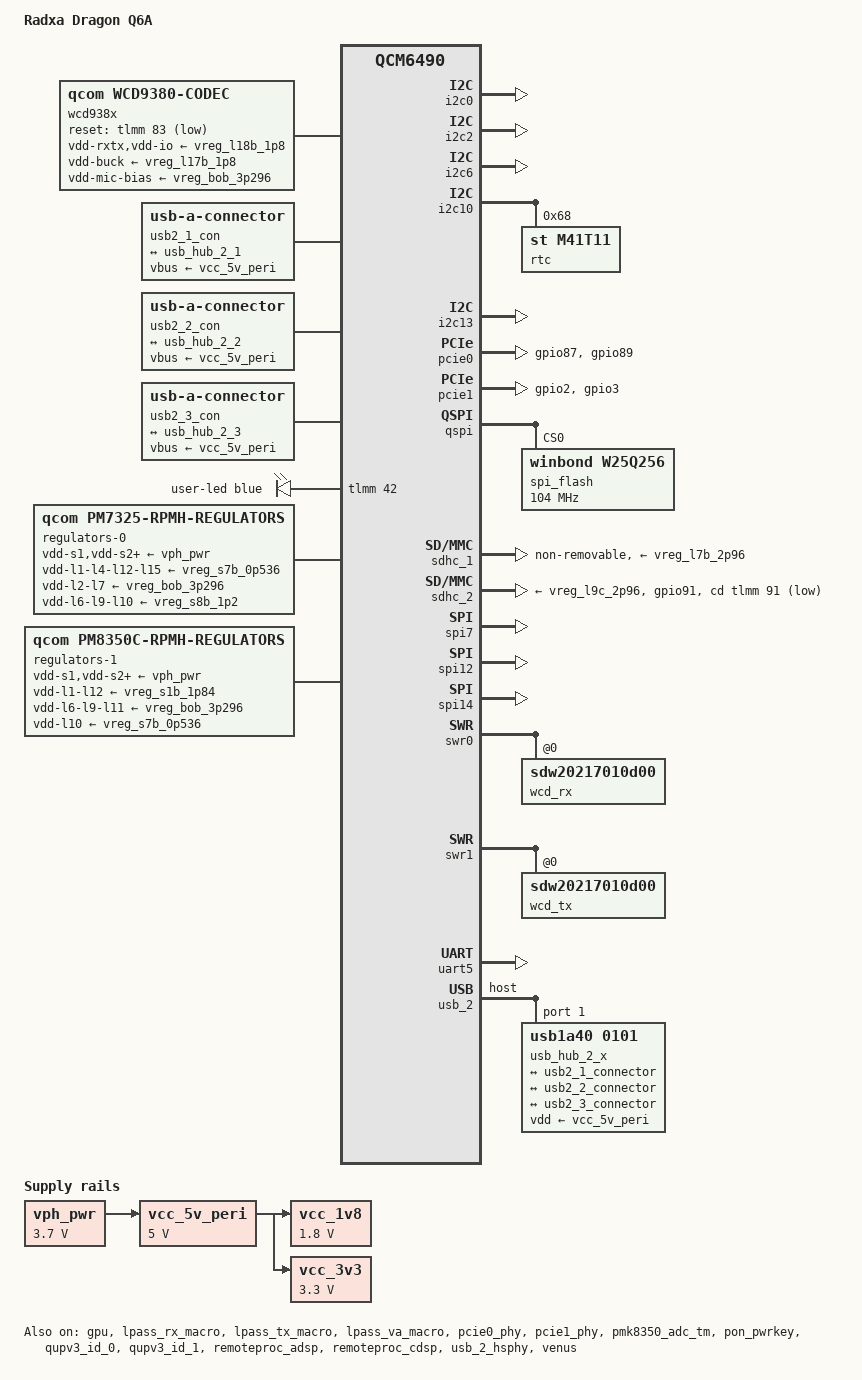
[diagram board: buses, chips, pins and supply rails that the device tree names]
// SPDX-License-Identifier: BSD-3-Clause
/*
 * Copyright (c) 2025 Radxa Computer (Shenzhen) Co., Ltd.
 */

/dts-v1/;

/* PM7250B is configured to use SID8/9 */
#define PM7250B_SID 8
#define PM7250B_SID1 9

#include <dt-bindings/iio/qcom,spmi-adc7-pmk8350.h>
#include <dt-bindings/iio/qcom,spmi-adc7-pm7325.h>
#include <dt-bindings/leds/common.h>
#include <dt-bindings/pinctrl/qcom,pmic-gpio.h>
#include <dt-bindings/regulator/qcom,rpmh-regulator.h>
#include "kodiak.dtsi"
#include "pm7250b.dtsi"
#include "pm7325.dtsi"
#include "pm8350c.dtsi" /* PM7350C */
#include "pmk8350.dtsi" /* PMK7325 */
#include "qcs6490-audioreach.dtsi"

/delete-node/ &adsp_mem;
/delete-node/ &cdsp_mem;
/delete-node/ &ipa_fw_mem;
/delete-node/ &mpss_mem;
/delete-node/ &remoteproc_mpss;
/delete-node/ &remoteproc_wpss;
/delete-node/ &rmtfs_mem;
/delete-node/ &video_mem;
/delete-node/ &wifi;
/delete-node/ &wlan_ce_mem;
/delete-node/ &wlan_fw_mem;
/delete-node/ &wpss_mem;
/delete-node/ &xbl_mem;

/ {
	model = "Radxa Dragon Q6A";
	compatible = "radxa,dragon-q6a", "qcom,qcm6490";
	chassis-type = "embedded";

	aliases {
		mmc0 = &sdhc_1;
		mmc1 = &sdhc_2;
		serial0 = &uart5;
	};

	wcd938x: audio-codec {
		compatible = "qcom,wcd9380-codec";

		pinctrl-0 = <&wcd_default>;
		pinctrl-names = "default";

		reset-gpios = <&tlmm 83 GPIO_ACTIVE_LOW>;

		vdd-rxtx-supply = <&vreg_l18b_1p8>;
		vdd-io-supply = <&vreg_l18b_1p8>;
		vdd-buck-supply = <&vreg_l17b_1p8>;
		vdd-mic-bias-supply = <&vreg_bob_3p296>;

		qcom,micbias1-microvolt = <1800000>;
		qcom,micbias2-microvolt = <1800000>;
		qcom,micbias3-microvolt = <1800000>;
		qcom,micbias4-microvolt = <1800000>;
		qcom,mbhc-buttons-vthreshold-microvolt = <75000 150000 237000 500000 500000 500000 500000 500000>;
		qcom,mbhc-headset-vthreshold-microvolt = <1700000>;
		qcom,mbhc-headphone-vthreshold-microvolt = <50000>;
		qcom,rx-device = <&wcd_rx>;
		qcom,tx-device = <&wcd_tx>;

		qcom,hphl-jack-type-normally-closed;

		#sound-dai-cells = <1>;
	};

	chosen {
		stdout-path = "serial0:115200n8";
	};

	usb2_1_con: connector-0 {
		compatible = "usb-a-connector";
		vbus-supply = <&vcc_5v_peri>;

		port {
			usb2_1_connector: endpoint {
				remote-endpoint = <&usb_hub_2_1>;
			};
		};
	};

	usb2_2_con: connector-1 {
		compatible = "usb-a-connector";
		vbus-supply = <&vcc_5v_peri>;

		port {
			usb2_2_connector: endpoint {
				remote-endpoint = <&usb_hub_2_2>;
			};
		};
	};

	usb2_3_con: connector-2 {
		compatible = "usb-a-connector";
		vbus-supply = <&vcc_5v_peri>;

		port {
			usb2_3_connector: endpoint {
				remote-endpoint = <&usb_hub_2_3>;
			};
		};
	};

	leds {
		compatible = "gpio-leds";

		pinctrl-0 = <&user_led>;
		pinctrl-names = "default";

		user-led {
			color = <LED_COLOR_ID_BLUE>;
			function = LED_FUNCTION_INDICATOR;
			gpios = <&tlmm 42 GPIO_ACTIVE_HIGH>;
			linux,default-trigger = "none";
			default-state = "off";
			panic-indicator;
		};
	};

	reserved-memory {
		xbl_mem: xbl@80700000 {
			reg = <0x0 0x80700000 0x0 0x100000>;
			no-map;
		};

		cdsp_secure_heap_mem: cdsp-secure-heap@81800000 {
			reg = <0x0 0x81800000 0x0 0x1e00000>;
			no-map;
		};

		camera_mem: camera@84300000 {
			reg = <0x0 0x84300000 0x0 0x500000>;
			no-map;
		};

		adsp_mem: adsp@84800000 {
			reg = <0x0 0x84800000 0x0 0x2800000>;
			no-map;
		};

		cdsp_mem: cdsp@87000000 {
			reg = <0x0 0x87000000 0x0 0x1e00000>;
			no-map;
		};

		video_mem: video@88e00000 {
			reg = <0x0 0x88e00000 0x0 0x700000>;
			no-map;
		};

		cvp_mem: cvp@89500000 {
			reg = <0x0 0x89500000 0x0 0x500000>;
			no-map;
		};

		gpu_microcode_mem: gpu-microcode@89a00000 {
			reg = <0x0 0x89a00000 0x0 0x2000>;
			no-map;
		};

		tz_stat_mem: tz-stat@c0000000 {
			reg = <0x0 0xc0000000 0x0 0x100000>;
			no-map;
		};

		tags_mem: tags@c0100000 {
			reg = <0x0 0xc0100000 0x0 0x1200000>;
			no-map;
		};

		qtee_mem: qtee@c1300000 {
			reg = <0x0 0xc1300000 0x0 0x500000>;
			no-map;
		};

		trusted_apps_mem: trusted-apps@c1800000 {
			reg = <0x0 0xc1800000 0x0 0x1c00000>;
			no-map;
		};

		debug_vm_mem: debug-vm@d0600000 {
			reg = <0x0 0xd0600000 0x0 0x100000>;
			no-map;
		};
	};

	thermal-zones {
		msm-skin-thermal {
			polling-delay-passive = <0>;
			thermal-sensors = <&pmk8350_adc_tm 2>;
		};

		quiet-thermal {
			polling-delay-passive = <0>;
			thermal-sensors = <&pmk8350_adc_tm 1>;
		};

		ufs-thermal {
			polling-delay-passive = <0>;
			thermal-sensors = <&pmk8350_adc_tm 3>;
		};

		xo-thermal {
			polling-delay-passive = <0>;
			thermal-sensors = <&pmk8350_adc_tm 0>;
		};
	};

	vcc_1v8: regulator-vcc-1v8 {
		compatible = "regulator-fixed";
		regulator-name = "vcc_1v8";
		regulator-min-microvolt = <1800000>;
		regulator-max-microvolt = <1800000>;
		vin-supply = <&vcc_5v_peri>;

		regulator-boot-on;
		regulator-always-on;
	};

	vcc_3v3: regulator-vcc-3v3 {
		compatible = "regulator-fixed";
		regulator-name = "vcc_3v3";
		regulator-min-microvolt = <3300000>;
		regulator-max-microvolt = <3300000>;
		vin-supply = <&vcc_5v_peri>;

		regulator-boot-on;
		regulator-always-on;
	};

	vcc_5v_peri: regulator-vcc-5v-peri {
		compatible = "regulator-fixed";
		regulator-name = "vcc_5v_peri";
		regulator-min-microvolt = <5000000>;
		regulator-max-microvolt = <5000000>;
		vin-supply = <&vph_pwr>;

		regulator-boot-on;
		regulator-always-on;
	};

	vph_pwr: regulator-vph-pwr {
		compatible = "regulator-fixed";
		regulator-name = "vph_pwr";
		regulator-min-microvolt = <3700000>;
		regulator-max-microvolt = <3700000>;

		regulator-boot-on;
		regulator-always-on;
	};
};

&apps_rsc {
	regulators-0 {
		compatible = "qcom,pm7325-rpmh-regulators";
		qcom,pmic-id = "b";

		vdd-s1-supply = <&vph_pwr>;
		vdd-s2-supply = <&vph_pwr>;
		vdd-s3-supply = <&vph_pwr>;
		vdd-s4-supply = <&vph_pwr>;
		vdd-s5-supply = <&vph_pwr>;
		vdd-s6-supply = <&vph_pwr>;
		vdd-s7-supply = <&vph_pwr>;
		vdd-s8-supply = <&vph_pwr>;
		vdd-l1-l4-l12-l15-supply = <&vreg_s7b_0p536>;
		vdd-l2-l7-supply = <&vreg_bob_3p296>;
		vdd-l6-l9-l10-supply = <&vreg_s8b_1p2>;
		vdd-l11-l17-l18-l19-supply = <&vreg_s1b_1p84>;

		vreg_s1b_1p84: smps1 {
			regulator-name = "vreg_s1b_1p84";
			regulator-min-microvolt = <1840000>;
			regulator-max-microvolt = <2040000>;
		};

		vreg_s7b_0p536: smps7 {
			regulator-name = "vreg_s7b_0p536";
			regulator-min-microvolt = <536000>;
			regulator-max-microvolt = <1120000>;
		};

		vreg_s8b_1p2: smps8 {
			regulator-name = "vreg_s8b_1p2";
			regulator-min-microvolt = <1200000>;
			regulator-max-microvolt = <1496000>;
			regulator-initial-mode = <RPMH_REGULATOR_MODE_RET>;
		};

		vreg_l1b_0p912: ldo1 {
			regulator-name = "vreg_l1b_0p912";
			regulator-min-microvolt = <832000>;
			regulator-max-microvolt = <920000>;
			regulator-initial-mode = <RPMH_REGULATOR_MODE_HPM>;
			regulator-allow-set-load;
			regulator-allowed-modes = <RPMH_REGULATOR_MODE_LPM
							RPMH_REGULATOR_MODE_HPM>;
		};

		vreg_l2b_3p072: ldo2 {
			regulator-name = "vreg_l2b_3p072";
			regulator-min-microvolt = <2704000>;
			regulator-max-microvolt = <3544000>;
			regulator-initial-mode = <RPMH_REGULATOR_MODE_HPM>;
			regulator-allow-set-load;
			regulator-allowed-modes = <RPMH_REGULATOR_MODE_LPM
							RPMH_REGULATOR_MODE_HPM>;
		};

		vreg_l6b_1p2: ldo6 {
			regulator-name = "vreg_l6b_1p2";
			regulator-min-microvolt = <1200000>;
			regulator-max-microvolt = <1256000>;
			regulator-initial-mode = <RPMH_REGULATOR_MODE_HPM>;
			regulator-allow-set-load;
			regulator-allowed-modes = <RPMH_REGULATOR_MODE_LPM
							RPMH_REGULATOR_MODE_HPM>;
		};

		vreg_l7b_2p96: ldo7 {
			regulator-name = "vreg_l7b_2p96";
			regulator-min-microvolt = <2960000>;
			regulator-max-microvolt = <2960000>;
			regulator-initial-mode = <RPMH_REGULATOR_MODE_HPM>;
			regulator-allow-set-load;
			regulator-allowed-modes = <RPMH_REGULATOR_MODE_LPM
							RPMH_REGULATOR_MODE_HPM>;
		};

		vreg_l9b_1p2: ldo9 {
			regulator-name = "vreg_l9b_1p2";
			regulator-min-microvolt = <1200000>;
			regulator-max-microvolt = <1304000>;
			regulator-initial-mode = <RPMH_REGULATOR_MODE_HPM>;
			regulator-allow-set-load;
			regulator-allowed-modes = <RPMH_REGULATOR_MODE_LPM
						   RPMH_REGULATOR_MODE_HPM>;
		};

		vreg_l17b_1p8: ldo17 {
			regulator-name = "vreg_l17b_1p8";
			regulator-min-microvolt = <1800000>;
			regulator-max-microvolt = <1896000>;
			regulator-initial-mode = <RPMH_REGULATOR_MODE_HPM>;
		};

		vreg_l18b_1p8: ldo18 {
			regulator-name = "vreg_l18b_1p8";
			regulator-min-microvolt = <1800000>;
			regulator-max-microvolt = <2000000>;
			regulator-initial-mode = <RPMH_REGULATOR_MODE_HPM>;
			regulator-always-on;
		};

		vreg_l19b_1p8: ldo19 {
			regulator-name = "vreg_l19b_1p8";
			regulator-min-microvolt = <1800000>;
			regulator-max-microvolt = <2000000>;
			regulator-initial-mode = <RPMH_REGULATOR_MODE_HPM>;
			regulator-allow-set-load;
			regulator-allowed-modes = <RPMH_REGULATOR_MODE_LPM
						   RPMH_REGULATOR_MODE_HPM>;
		};
	};

	regulators-1 {
		compatible = "qcom,pm8350c-rpmh-regulators";
		qcom,pmic-id = "c";

		vdd-s1-supply = <&vph_pwr>;
		vdd-s2-supply = <&vph_pwr>;
		vdd-s3-supply = <&vph_pwr>;
		vdd-s4-supply = <&vph_pwr>;
		vdd-s5-supply = <&vph_pwr>;
		vdd-s6-supply = <&vph_pwr>;
		vdd-s7-supply = <&vph_pwr>;
		vdd-s8-supply = <&vph_pwr>;
		vdd-s9-supply = <&vph_pwr>;
		vdd-s10-supply = <&vph_pwr>;
		vdd-l1-l12-supply = <&vreg_s1b_1p84>;
		vdd-l6-l9-l11-supply = <&vreg_bob_3p296>;
		vdd-l10-supply = <&vreg_s7b_0p536>;
		vdd-bob-supply = <&vph_pwr>;

		vreg_l1c_1p8: ldo1 {
			regulator-name = "vreg_l1c_1p8";
			regulator-min-microvolt = <1800000>;
			regulator-max-microvolt = <1976000>;
			regulator-initial-mode = <RPMH_REGULATOR_MODE_HPM>;
			regulator-allow-set-load;
			regulator-allowed-modes = <RPMH_REGULATOR_MODE_LPM
						   RPMH_REGULATOR_MODE_HPM>;
		};

		vreg_l6c_2p96: ldo6 {
			regulator-name = "vreg_l6c_2p96";
			regulator-min-microvolt = <1650000>;
			regulator-max-microvolt = <3544000>;
			regulator-initial-mode = <RPMH_REGULATOR_MODE_HPM>;
			regulator-allow-set-load;
			regulator-allowed-modes = <RPMH_REGULATOR_MODE_LPM
						   RPMH_REGULATOR_MODE_HPM>;
		};

		vreg_l9c_2p96: ldo9 {
			regulator-name = "vreg_l9c_2p96";
			regulator-min-microvolt = <2704000>;
			regulator-max-microvolt = <3544000>;
			regulator-initial-mode = <RPMH_REGULATOR_MODE_HPM>;
			regulator-allow-set-load;
			regulator-allowed-modes = <RPMH_REGULATOR_MODE_LPM
						   RPMH_REGULATOR_MODE_HPM>;
		};

		vreg_l10c_0p88: ldo10 {
			regulator-name = "vreg_l10c_0p88";
			regulator-min-microvolt = <720000>;
			regulator-max-microvolt = <1048000>;
			regulator-initial-mode = <RPMH_REGULATOR_MODE_HPM>;
			regulator-allow-set-load;
			regulator-allowed-modes = <RPMH_REGULATOR_MODE_LPM
						   RPMH_REGULATOR_MODE_HPM>;
		};

		vreg_bob_3p296: bob {
			regulator-name = "vreg_bob_3p296";
			regulator-min-microvolt = <3032000>;
			regulator-max-microvolt = <3960000>;
		};
	};
};

&gcc {
	protected-clocks = <GCC_CFG_NOC_LPASS_CLK>,
			   <GCC_MSS_CFG_AHB_CLK>,
			   <GCC_MSS_GPLL0_MAIN_DIV_CLK_SRC>,
			   <GCC_MSS_OFFLINE_AXI_CLK>,
			   <GCC_MSS_Q6SS_BOOT_CLK_SRC>,
			   <GCC_MSS_Q6_MEMNOC_AXI_CLK>,
			   <GCC_MSS_SNOC_AXI_CLK>,
			   <GCC_SEC_CTRL_CLK_SRC>,
			   <GCC_WPSS_AHB_BDG_MST_CLK>,
			   <GCC_WPSS_AHB_CLK>,
			   <GCC_WPSS_RSCP_CLK>;
};

&gpi_dma0 {
	status = "okay";
};

&gpi_dma1 {
	status = "okay";
};

&gpu {
	status = "okay";
};

&gpu_zap_shader {
	firmware-name = "qcom/qcs6490/a660_zap.mbn";
};

/* Pin 13, 15 in GPIO header */
&i2c0 {
	qcom,enable-gsi-dma;
	status = "okay";
};

/* Pin 27, 28 in GPIO header */
&i2c2 {
	qcom,enable-gsi-dma;
	status = "okay";
};

/* Pin 3, 5 in GPIO header */
&i2c6 {
	qcom,enable-gsi-dma;
	status = "okay";
};

&i2c10 {
	qcom,enable-gsi-dma;
	status = "okay";

	rtc: rtc@68 {
		compatible = "st,m41t11";
		reg = <0x68>;
	};
};

/* External touchscreen */
&i2c13 {
	qcom,enable-gsi-dma;
	status = "okay";
};

&lpass_audiocc {
	compatible = "qcom,qcm6490-lpassaudiocc";
	/delete-property/ power-domains;
};

&lpass_rx_macro {
	status = "okay";
};

&lpass_tx_macro {
	status = "okay";
};

&lpass_va_macro {
	status = "okay";
};

&pcie0 {
	perst-gpios = <&tlmm 87 GPIO_ACTIVE_LOW>;
	wake-gpios = <&tlmm 89 GPIO_ACTIVE_HIGH>;

	pinctrl-0 = <&pcie0_clkreq_n>, <&pcie0_reset_n>, <&pcie0_wake_n>;
	pinctrl-names = "default";

	status = "okay";
};

&pcie0_phy {
	vdda-phy-supply = <&vreg_l10c_0p88>;
	vdda-pll-supply = <&vreg_l6b_1p2>;

	status = "okay";
};

&pcie1 {
	perst-gpios = <&tlmm 2 GPIO_ACTIVE_LOW>;
	wake-gpios = <&tlmm 3 GPIO_ACTIVE_HIGH>;

	pinctrl-0 = <&pcie1_clkreq_n>, <&pcie1_reset_n>, <&pcie1_wake_n>;
	pinctrl-names = "default";

	/* Support for QPS615 PCIe switch */
	iommu-map = <0x0 &apps_smmu 0x1c80 0x1>,
		    <0x100 &apps_smmu 0x1c81 0x1>,
		    <0x208 &apps_smmu 0x1c84 0x1>,
		    <0x210 &apps_smmu 0x1c85 0x1>,
		    <0x218 &apps_smmu 0x1c86 0x1>,
		    <0x300 &apps_smmu 0x1c87 0x1>,
		    <0x400 &apps_smmu 0x1c88 0x1>,
		    <0x500 &apps_smmu 0x1c89 0x1>,
		    <0x501 &apps_smmu 0x1c90 0x1>;

	status = "okay";
};

&pcie1_phy {
	vdda-phy-supply = <&vreg_l10c_0p88>;
	vdda-pll-supply = <&vreg_l6b_1p2>;

	status = "okay";
};

&pm7325_gpios {
	pm7325_adc_default: adc-default-state {
		pins = "gpio2";
		function = PMIC_GPIO_FUNC_NORMAL;
		bias-high-impedance;
	};
};

&pm7325_temp_alarm {
	io-channels = <&pmk8350_vadc PM7325_ADC7_DIE_TEMP>;
	io-channel-names = "thermal";
};

&pmk8350_adc_tm {
	status = "okay";

	xo-therm@0 {
		reg = <0>;
		io-channels = <&pmk8350_vadc PMK8350_ADC7_AMUX_THM1_100K_PU>;
		qcom,ratiometric;
		qcom,hw-settle-time-us = <200>;
	};

	quiet-therm@1 {
		reg = <1>;
		io-channels = <&pmk8350_vadc PM7325_ADC7_AMUX_THM1_100K_PU>;
		qcom,ratiometric;
		qcom,hw-settle-time-us = <200>;
	};

	msm-skin-therm@2 {
		reg = <2>;
		io-channels = <&pmk8350_vadc PM7325_ADC7_AMUX_THM3_100K_PU>;
		qcom,ratiometric;
		qcom,hw-settle-time-us = <200>;
	};

	ufs-therm@3 {
		reg = <3>;
		io-channels = <&pmk8350_vadc PM7325_ADC7_GPIO1_100K_PU>;
		qcom,ratiometric;
		qcom,hw-settle-time-us = <200>;
	};
};

&pmk8350_vadc {
	pinctrl-0 = <&pm7325_adc_default>;
	pinctrl-names = "default";

	channel@3 {
		reg = <PMK8350_ADC7_DIE_TEMP>;
		label = "pmk7325_die_temp";
		qcom,pre-scaling = <1 1>;
	};

	channel@44 {
		reg = <PMK8350_ADC7_AMUX_THM1_100K_PU>;
		label = "xo_therm";
		qcom,hw-settle-time = <200>;
		qcom,pre-scaling = <1 1>;
		qcom,ratiometric;
	};

	channel@103 {
		reg = <PM7325_ADC7_DIE_TEMP>;
		label = "pm7325_die_temp";
		qcom,pre-scaling = <1 1>;
	};

	channel@144 {
		reg = <PM7325_ADC7_AMUX_THM1_100K_PU>;
		qcom,ratiometric;
		qcom,hw-settle-time = <200>;
		qcom,pre-scaling = <1 1>;
		label = "quiet_therm";
	};

	channel@146 {
		reg = <PM7325_ADC7_AMUX_THM3_100K_PU>;
		qcom,ratiometric;
		qcom,hw-settle-time = <200>;
		qcom,pre-scaling = <1 1>;
		label = "msm_skin_therm";
	};

	channel@14a {
		/* According to datasheet, 0x4a = AMUX1_GPIO = GPIO_02 */
		reg = <PM7325_ADC7_GPIO1_100K_PU>;
		qcom,ratiometric;
		qcom,hw-settle-time = <200>;
		qcom,pre-scaling = <1 1>;
		label = "ufs_therm";
	};
};

&pon_pwrkey {
	status = "okay";
};

&qspi {
	/* It's not possible to use QSPI with iommu */
	/* due to an error in qcom_smmu_write_s2cr */
	/delete-property/ iommus;

	pinctrl-0 = <&qspi_clk>, <&qspi_cs0>, <&qspi_data0>,
				<&qspi_data1>, <&qspi_data23>;
	pinctrl-1 = <&qspi_sleep>;
	pinctrl-names = "default", "sleep";

	status = "okay";

	spi_flash: flash@0 {
		compatible = "winbond,w25q256", "jedec,spi-nor";
		reg = <0>;

		spi-max-frequency = <104000000>;
		spi-tx-bus-width = <4>;
		spi-rx-bus-width = <4>;
	};
};

&qupv3_id_0 {
	firmware-name = "qcom/qcm6490/qupv3fw.elf";
	status = "okay";
};

&qupv3_id_1 {
	firmware-name = "qcom/qcm6490/qupv3fw.elf";
	status = "okay";
};

&remoteproc_adsp {
	firmware-name = "qcom/qcs6490/radxa/dragon-q6a/adsp.mbn";
	status = "okay";
};

&remoteproc_cdsp {
	firmware-name = "qcom/qcs6490/cdsp.mbn";
	status = "okay";
};

&sdhc_1 {
	non-removable;
	no-sd;
	no-sdio;

	vmmc-supply = <&vreg_l7b_2p96>;
	vqmmc-supply = <&vreg_l19b_1p8>;

	status = "okay";
};

&sdhc_2 {
	pinctrl-0 = <&sdc2_clk>, <&sdc2_cmd>, <&sdc2_data>, <&sd_cd>;
	pinctrl-1 = <&sdc2_clk_sleep>, <&sdc2_cmd_sleep>, <&sdc2_data_sleep>, <&sd_cd>;

	vmmc-supply = <&vreg_l9c_2p96>;
	vqmmc-supply = <&vreg_l6c_2p96>;

	cd-gpios = <&tlmm 91 GPIO_ACTIVE_LOW>;
	status = "okay";
};

&sound {
	compatible = "qcom,qcs6490-rb3gen2-sndcard";
	model = "QCS6490-Radxa-Dragon-Q6A";

	audio-routing = "IN1_HPHL", "HPHL_OUT",
			"IN2_HPHR", "HPHR_OUT",
			"AMIC2", "MIC BIAS2",
			"TX SWR_ADC1", "ADC2_OUTPUT";

	wcd-playback-dai-link {
		link-name = "WCD Playback";

		codec {
			sound-dai = <&wcd938x 0>, <&swr0 0>, <&lpass_rx_macro 0>;
		};

		cpu {
			sound-dai = <&q6apmbedai RX_CODEC_DMA_RX_0>;
		};

		platform {
			sound-dai = <&q6apm>;
		};
	};

	wcd-capture-dai-link {
		link-name = "WCD Capture";

		codec {
			sound-dai = <&wcd938x 1>, <&swr1 0>, <&lpass_tx_macro 0>;
		};

		cpu {
			sound-dai = <&q6apmbedai TX_CODEC_DMA_TX_3>;
		};

		platform {
			sound-dai = <&q6apm>;
		};
	};
};

/* Pin 11, 29, 31, 32 in GPIO header */
&spi7 {
	qcom,enable-gsi-dma;
	status = "okay";
};

/* Pin 19, 21, 23, 24, 26 in GPIO header */
&spi12 {
	qcom,enable-gsi-dma;
	status = "okay";
};

/* Pin 22, 33, 36, 37 in GPIO header */
&spi14 {
	qcom,enable-gsi-dma;
	status = "okay";
};

&swr0 {
	status = "okay";

	wcd_rx: codec@0,4 {
		compatible = "sdw20217010d00";
		reg = <0 4>;
		qcom,rx-port-mapping = <1 2 3 4 5>;
	};
};

&swr1 {
	status = "okay";

	wcd_tx: codec@0,3 {
		compatible = "sdw20217010d00";
		reg = <0 3>;
		qcom,tx-port-mapping = <1 1 2 3>;
	};
};

&tlmm {
	gpio-line-names =
		/* GPIO_0 ~ GPIO_3 */
		"PIN_13", "PIN_15", "", "",
		/* GPIO_4 ~ GPIO_7 */
		"", "", "", "",
		/* GPIO_8 ~ GPIO_11 */
		"PIN_27", "PIN_28", "", "",
		/* GPIO_12 ~ GPIO_15 */
		"", "", "", "",
		/* GPIO_16 ~ GPIO_19 */
		"", "", "", "",
		/* GPIO_20 ~ GPIO_23 */
		"", "", "PIN_8", "PIN_10",
		/* GPIO_24 ~ GPIO_27 */
		"PIN_3", "PIN_5", "PIN_16", "PIN_27",
		/* GPIO_28 ~ GPIO_31 */
		"PIN_31", "PIN_11", "PIN_32", "PIN_29",
		/* GPIO_32 ~ GPIO_35 */
		"", "", "", "",
		/* GPIO_36 ~ GPIO_39 */
		"", "", "", "",
		/* GPIO_40 ~ GPIO_43 */
		"", "", "", "",
		/* GPIO_44 ~ GPIO_47 */
		"", "", "", "",
		/* GPIO_48 ~ GPIO_51 */
		"PIN_21", "PIN_19", "PIN_23", "PIN_24",
		/* GPIO_52 ~ GPIO_55 */
		"", "", "", "PIN_26",
		/* GPIO_56 ~ GPIO_59 */
		"PIN_33", "PIN_22", "PIN_37", "PIN_36",
		/* GPIO_60 ~ GPIO_63 */
		"", "", "", "",
		/* GPIO_64 ~ GPIO_67 */
		"", "", "", "",
		/* GPIO_68 ~ GPIO_71 */
		"", "", "", "",
		/* GPIO_72 ~ GPIO_75 */
		"", "", "", "",
		/* GPIO_76 ~ GPIO_79 */
		"", "", "", "",
		/* GPIO_80 ~ GPIO_83 */
		"", "", "", "",
		/* GPIO_84 ~ GPIO_87 */
		"", "", "", "",
		/* GPIO_88 ~ GPIO_91 */
		"", "", "", "",
		/* GPIO_92 ~ GPIO_95 */
		"", "", "", "",
		/* GPIO_96 ~ GPIO_99 */
		"PIN_7", "PIN_12", "PIN_38", "PIN_40",
		/* GPIO_100 ~ GPIO_103 */
		"PIN_35", "", "", "",
		/* GPIO_104 ~ GPIO_107 */
		"", "", "", "",
		/* GPIO_108 ~ GPIO_111 */
		"", "", "", "",
		/* GPIO_112 ~ GPIO_115 */
		"", "", "", "",
		/* GPIO_116 ~ GPIO_119 */
		"", "", "", "",
		/* GPIO_120 ~ GPIO_123 */
		"", "", "", "",
		/* GPIO_124 ~ GPIO_127 */
		"", "", "", "",
		/* GPIO_128 ~ GPIO_131 */
		"", "", "", "",
		/* GPIO_132 ~ GPIO_135 */
		"", "", "", "",
		/* GPIO_136 ~ GPIO_139 */
		"", "", "", "",
		/* GPIO_140 ~ GPIO_143 */
		"", "", "", "",
		/* GPIO_144 ~ GPIO_147 */
		"", "", "", "",
		/* GPIO_148 ~ GPIO_151 */
		"", "", "", "",
		/* GPIO_152 ~ GPIO_155 */
		"", "", "", "",
		/* GPIO_156 ~ GPIO_159 */
		"", "", "", "",
		/* GPIO_160 ~ GPIO_163 */
		"", "", "", "",
		/* GPIO_164 ~ GPIO_167 */
		"", "", "", "",
		/* GPIO_168 ~ GPIO_171 */
		"", "", "", "",
		/* GPIO_172 ~ GPIO_174 */
		"", "", "";

	pcie0_reset_n: pcie0-reset-n-state {
		pins = "gpio87";
		function = "gpio";
		drive-strength = <2>;
		bias-disable;
	};

	pcie0_wake_n: pcie0-wake-n-state {
		pins = "gpio89";
		function = "gpio";
		drive-strength = <2>;
		bias-pull-up;
	};

	pcie1_reset_n: pcie1-reset-n-state {
		pins = "gpio2";
		function = "gpio";
		drive-strength = <2>;
		bias-disable;
	};

	pcie1_wake_n: pcie1-wake-n-state {
		pins = "gpio3";
		function = "gpio";
		drive-strength = <2>;
		bias-pull-up;
	};

	qspi_sleep: qspi-sleep-state {
		pins = "gpio12", "gpio13", "gpio14", "gpio15", "gpio16", "gpio17";
		function = "gpio";
		output-disable;
	};

	sd_cd: sd-cd-state {
		pins = "gpio91";
		function = "gpio";
		bias-pull-up;
	};

	user_led: user-led-state {
		pins = "gpio42";
		function = "gpio";
		bias-pull-up;
	};

	wcd_default: wcd-reset-n-active-state {
		pins = "gpio83";
		function = "gpio";
		drive-strength = <16>;
		bias-disable;
		output-low;
	};
};

&uart5 {
	status = "okay";
};

&usb_2 {
	dr_mode = "host";

	#address-cells = <1>;
	#size-cells = <0>;

	status = "okay";

	/* Onboard USB 2.0 hub */
	usb_hub_2_x: hub@1 {
		compatible = "usb1a40,0101";
		reg = <1>;
		vdd-supply = <&vcc_5v_peri>;
		#address-cells = <1>;
		#size-cells = <0>;

		ports {
			#address-cells = <1>;
			#size-cells = <0>;

			port@1 {
				reg = <1>;

				usb_hub_2_1: endpoint {
					remote-endpoint = <&usb2_1_connector>;
				};
			};

			port@2 {
				reg = <2>;

				usb_hub_2_2: endpoint {
					remote-endpoint = <&usb2_2_connector>;
				};
			};

			port@3 {
				reg = <3>;

				usb_hub_2_3: endpoint {
					remote-endpoint = <&usb2_3_connector>;
				};
			};
		};

		/* FCU760K Wi-Fi & Bluetooth module */
		wifi@4 {
			compatible = "usba69c,8d80";
			reg = <4>;
		};
	};
};

&usb_2_hsphy {
	vdda-pll-supply = <&vreg_l10c_0p88>;
	vdda33-supply = <&vreg_l2b_3p072>;
	vdda18-supply = <&vreg_l1c_1p8>;

	status = "okay";
};

&venus {
	status = "okay";
};

/* PINCTRL - additions to nodes defined in sc7280.dtsi */
&pcie0_clkreq_n {
	bias-pull-up;
	drive-strength = <2>;
};

&pcie1_clkreq_n {
	bias-pull-up;
	drive-strength = <2>;
};

&qspi_clk {
	bias-disable;
	drive-strength = <16>;
};

&qspi_cs0 {
	bias-disable;
	drive-strength = <8>;
};

&qspi_data0 {
	bias-disable;
	drive-strength = <8>;
};

&qspi_data1 {
	bias-disable;
	drive-strength = <8>;
};

&qspi_data23 {
	bias-disable;
	drive-strength = <8>;
};

&sdc1_clk {
	bias-disable;
	drive-strength = <16>;
};

&sdc1_cmd {
	bias-pull-up;
	drive-strength = <10>;
};

&sdc1_data {
	bias-pull-up;
	drive-strength = <10>;
};

&sdc1_rclk {
	bias-pull-down;
};

&sdc2_clk {
	bias-disable;
	drive-strength = <16>;
};

&sdc2_cmd {
	bias-pull-up;
	drive-strength = <10>;
};

&sdc2_data {
	bias-pull-up;
	drive-strength = <10>;
};
